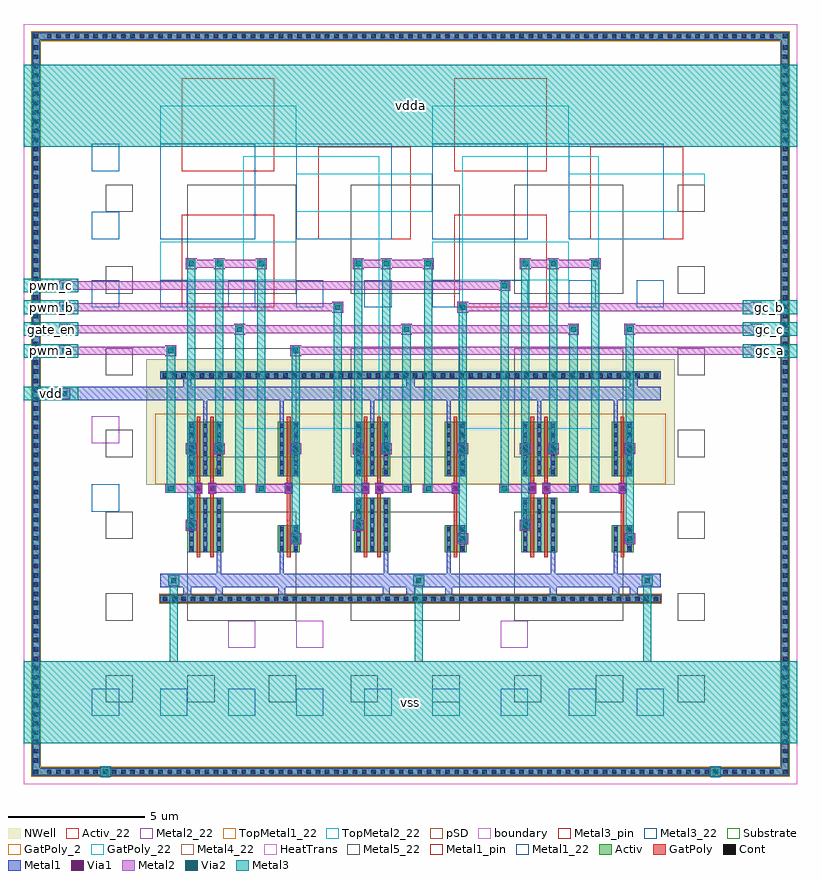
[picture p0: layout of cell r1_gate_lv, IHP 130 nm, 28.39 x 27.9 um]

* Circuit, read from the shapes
.subckt r1_gate_lv gate_en gc_a gc_b gc_c pwm_a pwm_b pwm_c vdd vdda vss
XM1 n1 pwm_a n2 vss sg13_lv_nmos w=2u l=0.13u
XM2 vss gate_en n1 vss sg13_lv_nmos w=2u l=0.13u
XM3 gc_a n2 vss vss sg13_lv_nmos w=1u l=0.13u
XM4 n3 pwm_b n4 vss sg13_lv_nmos w=2u l=0.13u
XM5 vss gate_en n3 vss sg13_lv_nmos w=2u l=0.13u
XM6 gc_b n4 vss vss sg13_lv_nmos w=1u l=0.13u
XM7 n5 pwm_c n6 vss sg13_lv_nmos w=2u l=0.13u
XM8 vss gate_en n5 vss sg13_lv_nmos w=2u l=0.13u
XM9 gc_c n6 vss vss sg13_lv_nmos w=1u l=0.13u
XM10 vdd pwm_a n2 vdd sg13_lv_pmos w=2u l=0.13u
XM11 n2 gate_en vdd vdd sg13_lv_pmos w=2u l=0.13u
XM12 gc_a n2 vdd vdd sg13_lv_pmos w=2u l=0.13u
XM13 vdd pwm_b n4 vdd sg13_lv_pmos w=2u l=0.13u
XM14 n4 gate_en vdd vdd sg13_lv_pmos w=2u l=0.13u
XM15 gc_b n4 vdd vdd sg13_lv_pmos w=2u l=0.13u
XM16 vdd pwm_c n6 vdd sg13_lv_pmos w=2u l=0.13u
XM17 n6 gate_en vdd vdd sg13_lv_pmos w=2u l=0.13u
XM18 gc_c n6 vdd vdd sg13_lv_pmos w=2u l=0.13u
.ends

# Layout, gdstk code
import gdstk
lib = gdstk.Library(unit=1e-6, precision=1e-09)
def R(c, l, rs):  # rectangles x0, y0, x1, y1
    for r in rs: c.add(gdstk.rectangle(r[:2], r[2:], *l))
def A(c, l, x, y, w, h, nx, ny, dx, dy):  # array of equal rectangles
    R(c, l, [(x+i*dx, y+j*dy, x+i*dx+w, y+j*dy+h) for i in range(nx) for j in range(ny)])
def P(c, l, *ps):  # polygons
    for p in ps: c.add(gdstk.Polygon(p, *l))
Activ = (1, 0)
Activ_22 = (1, 22)
GatPoly = (5, 0)
GatPoly_2 = (5, 2)
GatPoly_22 = (5, 22)
Cont = (6, 0)
Metal1 = (8, 0)
Metal1_pin = (8, 2)
Metal1_22 = (8, 22)
Metal2 = (10, 0)
Metal2_22 = (10, 22)
pSD = (14, 0)
Via1 = (19, 0)
Via2 = (29, 0)
Metal3 = (30, 0)
Metal3_pin = (30, 2)
Metal3_22 = (30, 22)
NWell = (31, 0)
Substrate = (40, 0)
Metal4_22 = (50, 22)
HeatTrans = (51, 0)
Metal5_22 = (67, 22)
TopMetal1_22 = (126, 22)
TopMetal2_22 = (134, 22)
boundary = (189, 4)

pmos = lib.new_cell('pmos')
A(pmos, Activ, 0, 0, 0.3, 0.3, 3, 1, 0.51, 0)
R(pmos, Activ, [(0,0,1.32,2)])
R(pmos, GatPoly, [(0.34,-0.18,0.47,2.18), (0.34,-0.18,0.47,2.18), (0.85,-0.18,0.98,2.18)])
A(pmos, Cont, 0.07, 0.07, 0.16, 0.16, 3, 6, 0.51, 0.34)
R(pmos, Metal1, [(0.07,0,0.23,2), (0.07,0,0.23,2), (0.58,0,0.74,2), (0.58,0,0.74,2), (1.09,0,1.25,2)])
R(pmos, pSD, [(-0.18,-0.3,1.5,2.3)])
R(pmos, NWell, [(-0.31,-0.31,1.63,2.31)])
R(pmos, Substrate, [(1.02,0,1.32,0.3)])
R(pmos, HeatTrans, [(0.34,-0.18,0.47,2.18), (0.85,-0.18,0.98,2.18)])
pmos.add(gdstk.Label('pmos', (0.405,1), layer=63, texttype=0))
pmos.add(gdstk.Label('pmos', (0.405,1), layer=51, texttype=0))
pmos.add(gdstk.Label('pmos', (0.915,1), layer=51, texttype=0))

nmos = lib.new_cell('nmos')
A(nmos, Activ, 0, 0, 0.3, 0.3, 3, 1, 0.51, 0)
R(nmos, Activ, [(0,0,1.32,2)])
R(nmos, GatPoly, [(0.34,-0.18,0.47,2.18), (0.85,-0.18,0.98,2.18)])
R(nmos, GatPoly_2, [(0.34,-0.18,0.47,2.18)])
A(nmos, Cont, 0.07, 0.07, 0.16, 0.16, 3, 6, 0.51, 0.34)
A(nmos, Metal1, 0.07, 0, 0.16, 2, 3, 1, 0.51, 0)
R(nmos, Metal1_pin, [(0.07,0,0.23,2), (0.58,0,0.74,2)])
R(nmos, HeatTrans, [(0.34,-0.18,0.47,2.18), (0.85,-0.18,0.98,2.18)])
nmos.add(gdstk.Label('nmos', (0.405,1), layer=63, texttype=0))
nmos.add(gdstk.Label('nmos', (0.405,1), layer=51, texttype=0))
nmos.add(gdstk.Label('nmos', (0.915,1), layer=51, texttype=0))

pmos_1 = lib.new_cell('pmos$1')
R(pmos_1, Activ, [(0,0,0.3,0.3), (0,0,0.81,2), (0.51,0,0.81,0.3)])
R(pmos_1, GatPoly, [(0.34,-0.18,0.47,2.18), (0.34,-0.18,0.47,2.18)])
A(pmos_1, Cont, 0.07, 0.07, 0.16, 0.16, 1, 6, 0, 0.34)
A(pmos_1, Cont, 0.58, 0.07, 0.16, 0.16, 1, 6, 0, 0.34)
R(pmos_1, Metal1, [(0.07,0,0.23,2), (0.07,0,0.23,2), (0.58,0,0.74,2), (0.58,0,0.74,2)])
R(pmos_1, pSD, [(-0.18,-0.3,0.99,2.3)])
R(pmos_1, NWell, [(-0.31,-0.31,1.12,2.31)])
R(pmos_1, Substrate, [(0.51,0,0.81,0.3)])
R(pmos_1, HeatTrans, [(0.34,-0.18,0.47,2.18)])
pmos_1.add(gdstk.Label('pmos', (0.405,1), layer=63, texttype=0))
pmos_1.add(gdstk.Label('pmos', (0.405,1), layer=51, texttype=0))

nmos_1 = lib.new_cell('nmos$1')
R(nmos_1, Activ, [(0,0,0.3,0.3), (0,0,0.81,1), (0.51,0,0.81,0.3)])
R(nmos_1, GatPoly, [(0.34,-0.18,0.47,1.18)])
R(nmos_1, GatPoly_2, [(0.34,-0.18,0.47,1.18)])
A(nmos_1, Cont, 0.07, 0.07, 0.16, 0.16, 1, 3, 0, 0.35)
A(nmos_1, Cont, 0.58, 0.07, 0.16, 0.16, 1, 3, 0, 0.35)
R(nmos_1, Metal1, [(0.07,0,0.23,1), (0.58,0,0.74,1)])
R(nmos_1, Metal1_pin, [(0.07,0,0.23,1), (0.58,0,0.74,1)])
R(nmos_1, HeatTrans, [(0.34,-0.18,0.47,1.18)])
nmos_1.add(gdstk.Label('nmos', (0.405,0.5), layer=63, texttype=0))
nmos_1.add(gdstk.Label('nmos', (0.405,0.5), layer=51, texttype=0))

act_fill_cell = lib.new_cell('Act_FILL_CELL')
R(act_fill_cell, Activ_22, [(0,0,3.4,3.4)])

gatp_fill_cell = lib.new_cell('GatP_FILL_CELL')
R(gatp_fill_cell, GatPoly_22, [(0,0,5,1.4)])

met1_m_fill_cell = lib.new_cell('Met1_M_FILL_CELL')
R(met1_m_fill_cell, Metal1_22, [(0,0,3.5,3.5)])

met1_s_fill_cell = lib.new_cell('Met1_S_FILL_CELL')
R(met1_s_fill_cell, Metal1_22, [(0,0,1,1)])

met2_m_fill_cell = lib.new_cell('Met2_M_FILL_CELL')
R(met2_m_fill_cell, Metal2_22, [(0,0,3.5,3.5)])

met2_s_fill_cell = lib.new_cell('Met2_S_FILL_CELL')
R(met2_s_fill_cell, Metal2_22, [(0,0,1,1)])

met3_s_fill_cell = lib.new_cell('Met3_S_FILL_CELL')
R(met3_s_fill_cell, Metal3_22, [(0,0,1,1)])

met4_m_fill_cell = lib.new_cell('Met4_M_FILL_CELL')
R(met4_m_fill_cell, Metal4_22, [(0,0,4,4)])

met4_s_fill_cell = lib.new_cell('Met4_S_FILL_CELL')
R(met4_s_fill_cell, Metal4_22, [(0,0,1,1)])

met5_m_fill_cell = lib.new_cell('Met5_M_FILL_CELL')
R(met5_m_fill_cell, Metal5_22, [(0,0,4,4)])

met5_s_fill_cell = lib.new_cell('Met5_S_FILL_CELL')
R(met5_s_fill_cell, Metal5_22, [(0,0,1,1)])

tm1_fill_cell = lib.new_cell('TM1_FILL_CELL')
R(tm1_fill_cell, TopMetal1_22, [(0,0,5,10)])

tm2_fill_cell = lib.new_cell('TM2_FILL_CELL')
R(tm2_fill_cell, TopMetal2_22, [(0,0,5,10)])

r1_gate_lv = lib.new_cell('r1_gate_lv')
R(r1_gate_lv, Activ, [(5,6.65,23.39,6.95), (5,14.85,23.39,15.15)])
P(r1_gate_lv, Activ, [(0.3,0.3),(0.3,27.3),(0.6,27.3),(0.6,0.6),(27.79,0.6),(27.79,27.3),(0.3,27.3),(0.3,27.6),(28.09,27.6),(28.09,0.3)])
A(r1_gate_lv, GatPoly, 9.66, 9.5, 0.13, 1.8, 3, 1, 6.13, 0)
A(r1_gate_lv, GatPoly, 6.765, 10.7, 0.3, 0.3, 3, 1, 2.81, 0)
A(r1_gate_lv, GatPoly, 12.895, 10.7, 0.3, 0.3, 3, 1, 2.81, 0)
R(r1_gate_lv, GatPoly, [(6.34,10.5,6.47,11.3), (6.85,10.5,6.98,11.3), (12.47,10.5,12.6,11.3), (12.98,10.5,13.11,11.3), (18.6,10.5,18.73,11.3), (19.11,10.5,19.24,11.3), (6.255,10.7,6.555,11), (19.025,10.7,19.325,11), (21.835,10.7,22.135,11)])
A(r1_gate_lv, Cont, 0.855, 0.37, 0.16, 0.16, 79, 2, 0.34, 27)
A(r1_gate_lv, Cont, 0.37, 0.78, 0.16, 0.16, 1, 78, 0, 0.34)
A(r1_gate_lv, Cont, 27.86, 0.78, 0.16, 0.16, 1, 78, 0, 0.34)
A(r1_gate_lv, Cont, 5.105, 6.72, 0.16, 0.16, 54, 2, 0.34, 8.2)
A(r1_gate_lv, Cont, 6.835, 10.77, 0.16, 0.16, 3, 1, 2.81, 0)
A(r1_gate_lv, Cont, 12.965, 10.77, 0.16, 0.16, 3, 1, 2.81, 0)
R(r1_gate_lv, Cont, [(0.37,0.37,0.53,0.53), (27.86,0.37,28.02,0.53), (6.325,10.77,6.485,10.93), (19.095,10.77,19.255,10.93), (21.905,10.77,22.065,10.93), (0.37,27.37,0.53,27.53), (27.86,27.37,28.02,27.53)])
A(r1_gate_lv, Metal1, 5.85, 6.67, 0.3, 1.05, 3, 1, 8.195, 0)
A(r1_gate_lv, Metal1, 9.78, 8.8, 0.4, 0.4, 3, 1, 6.13, 0)
A(r1_gate_lv, Metal1, 9.81, 8.83, 0.34, 0.34, 3, 1, 6.13, 0)
A(r1_gate_lv, Metal1, 5.95, 9.3, 0.4, 0.4, 3, 1, 6.13, 0)
A(r1_gate_lv, Metal1, 5.98, 9.33, 0.34, 0.34, 3, 1, 6.13, 0)
A(r1_gate_lv, Metal1, 6.765, 10.68, 0.3, 0.34, 3, 1, 2.81, 0)
A(r1_gate_lv, Metal1, 12.895, 10.68, 0.3, 0.34, 3, 1, 2.81, 0)
A(r1_gate_lv, Metal1, 5.85, 14.58, 0.3, 0.55, 3, 1, 8.195, 0)
R(r1_gate_lv, Metal1, [(2.8,0.25,3.2,0.65), (25.19,0.25,25.59,0.65), (2.83,0.28,3.17,0.62), (25.22,0.28,25.56,0.62), (5,6.67,23.39,6.93), (7.04,6.72,7.3,7.22), (7.09,6.72,7.25,8.5), (9.34,6.72,9.6,7.22), (9.39,6.72,9.55,8.5), (13.17,6.72,13.43,7.22), (13.22,6.72,13.38,8.5), (15.47,6.72,15.73,7.22), (15.52,6.72,15.68,8.5), (19.3,6.72,19.56,7.22), (19.35,6.72,19.51,8.5), (21.6,6.72,21.86,7.22), (21.65,6.72,21.81,8.5), (5,7.22,23.39,7.72), (5.3,7.27,5.7,7.67), (14.295,7.27,14.695,7.67), (22.69,7.27,23.09,7.67), (6.255,10.68,6.555,11.02), (19.025,10.68,19.325,11.02), (21.835,10.68,22.135,11.02), (5.95,12.1,6.35,12.5), (6.97,12.1,7.37,12.5), (9.78,12.1,10.18,12.5), (12.08,12.1,12.48,12.5), (13.1,12.1,13.5,12.5), (15.91,12.1,16.31,12.5), (18.21,12.1,18.61,12.5), (19.23,12.1,19.63,12.5), (22.04,12.1,22.44,12.5), (5.98,12.13,6.32,12.47), (7,12.13,7.34,12.47), (9.81,12.13,10.15,12.47), (12.11,12.13,12.45,12.47), (13.13,12.13,13.47,12.47), (15.94,12.13,16.28,12.47), (18.24,12.13,18.58,12.47), (19.26,12.13,19.6,12.47), (22.07,12.13,22.41,12.47), (6.58,13.3,6.74,14.58), (9.39,13.3,9.55,14.58), (12.71,13.3,12.87,14.58), (15.52,13.3,15.68,14.58), (18.84,13.3,19,14.58), (21.65,13.3,21.81,14.58), (1.5,14.08,5,14.58), (5,14.08,23.39,14.58), (6.53,14.08,6.79,14.58), (9.34,14.08,9.6,14.58), (12.66,14.08,12.92,14.58), (15.47,14.08,15.73,14.58), (18.79,14.08,19.05,14.58), (21.6,14.08,21.86,14.58), (1.3,14.13,1.7,14.53), (5,14.87,23.39,15.13)])
P(r1_gate_lv, Metal1, [(0.32,0.32),(0.32,27.32),(0.58,27.32),(0.58,0.58),(27.81,0.58),(27.81,27.32),(0.32,27.32),(0.32,27.58),(28.07,27.58),(28.07,0.32)])
A(r1_gate_lv, Metal2, 9.78, 8.8, 0.4, 0.4, 3, 1, 6.13, 0)
A(r1_gate_lv, Metal2, 5.95, 9.3, 0.4, 0.4, 3, 1, 6.13, 0)
A(r1_gate_lv, Metal2, 6.765, 10.65, 0.3, 0.4, 3, 1, 2.81, 0)
A(r1_gate_lv, Metal2, 12.895, 10.65, 0.3, 0.4, 3, 1, 2.81, 0)
A(r1_gate_lv, Metal2, 1.3, 15.7, 0.4, 0.4, 1, 4, 0, 0.8)
A(r1_gate_lv, Metal2, 26.69, 15.7, 0.4, 0.4, 1, 3, 0, 0.8)
A(r1_gate_lv, Metal2, 7.72, 16.5, 0.4, 0.4, 3, 1, 6.13, 0)
A(r1_gate_lv, Metal2, 6, 18.95, 2.87, 0.3, 3, 1, 6.13, 0)
R(r1_gate_lv, Metal2, [(2.8,0.25,3.2,0.65), (2.8,0.25,3.2,0.65), (25.19,0.25,25.59,0.65), (25.19,0.25,25.59,0.65), (5.3,7.27,5.7,7.67), (5.3,7.27,5.7,7.67), (14.295,7.27,14.695,7.67), (14.295,7.27,14.695,7.67), (22.69,7.27,23.09,7.67), (22.69,7.27,23.09,7.67), (6.255,10.65,6.555,11.05), (19.025,10.65,19.325,11.05), (21.835,10.65,22.135,11.05), (5.2,10.7,6.255,11), (7.065,10.7,8.12,11), (8.52,10.7,9.575,11), (11.33,10.7,12.385,11), (13.195,10.7,14.25,11), (14.65,10.7,15.705,11), (17.46,10.7,18.515,11), (19.325,10.7,20.38,11), (20.78,10.7,21.835,11), (5.95,12.1,6.35,12.5), (6.97,12.1,7.37,12.5), (9.78,12.1,10.18,12.5), (12.08,12.1,12.48,12.5), (13.1,12.1,13.5,12.5), (15.91,12.1,16.31,12.5), (18.21,12.1,18.61,12.5), (19.23,12.1,19.63,12.5), (22.04,12.1,22.44,12.5), (1.3,14.13,1.7,14.53), (1.3,14.13,1.7,14.53), (5.2,15.7,5.6,16.1), (9.78,15.7,10.18,16.1), (1.35,15.75,5.55,16.05), (9.83,15.75,27.04,16.05), (22.04,16.5,22.44,16.9), (1.35,16.55,20.33,16.85), (22.09,16.55,27.04,16.85), (11.33,17.3,11.73,17.7), (15.91,17.3,16.31,17.7), (1.35,17.35,11.68,17.65), (15.96,17.35,27.04,17.65), (17.46,18.1,17.86,18.5), (1.35,18.15,17.81,18.45), (5.95,18.9,6.35,19.3), (6.97,18.9,7.37,19.3), (8.52,18.9,8.92,19.3), (12.08,18.9,12.48,19.3), (13.1,18.9,13.5,19.3), (14.65,18.9,15.05,19.3), (18.21,18.9,18.61,19.3), (19.23,18.9,19.63,19.3), (20.78,18.9,21.18,19.3)])
R(r1_gate_lv, pSD, [(4.97,6.62,23.42,6.98), (4.82,11,23.57,13.6)])
P(r1_gate_lv, pSD, [(0.27,0.27),(0.27,27.27),(0.63,27.27),(0.63,0.63),(27.76,0.63),(27.76,27.27),(0.27,27.27),(0.27,27.63),(28.12,27.63),(28.12,0.27)])
A(r1_gate_lv, Via1, 9.885, 8.905, 0.19, 0.19, 3, 1, 6.13, 0)
A(r1_gate_lv, Via1, 6.055, 9.405, 0.19, 0.19, 3, 1, 6.13, 0)
A(r1_gate_lv, Via1, 6.82, 10.755, 0.19, 0.19, 3, 1, 2.81, 0)
A(r1_gate_lv, Via1, 12.95, 10.755, 0.19, 0.19, 3, 1, 2.81, 0)
R(r1_gate_lv, Via1, [(2.905,0.355,3.095,0.545), (25.295,0.355,25.485,0.545), (5.405,7.375,5.595,7.565), (14.4,7.375,14.59,7.565), (22.795,7.375,22.985,7.565), (6.31,10.755,6.5,10.945), (19.08,10.755,19.27,10.945), (21.89,10.755,22.08,10.945), (6.055,12.205,6.245,12.395), (7.075,12.205,7.265,12.395), (9.885,12.205,10.075,12.395), (12.185,12.205,12.375,12.395), (13.205,12.205,13.395,12.395), (16.015,12.205,16.205,12.395), (18.315,12.205,18.505,12.395), (19.335,12.205,19.525,12.395), (22.145,12.205,22.335,12.395), (1.405,14.235,1.595,14.425)])
A(r1_gate_lv, Via2, 9.885, 8.905, 0.19, 0.19, 3, 1, 6.13, 0)
A(r1_gate_lv, Via2, 6.055, 9.405, 0.19, 0.19, 3, 1, 6.13, 0)
A(r1_gate_lv, Via2, 1.405, 15.805, 0.19, 0.19, 1, 4, 0, 0.8)
A(r1_gate_lv, Via2, 26.795, 15.805, 0.19, 0.19, 1, 3, 0, 0.8)
A(r1_gate_lv, Via2, 7.825, 16.605, 0.19, 0.19, 3, 1, 6.13, 0)
R(r1_gate_lv, Via2, [(2.905,0.355,3.095,0.545), (25.295,0.355,25.485,0.545), (5.405,7.375,5.595,7.565), (14.4,7.375,14.59,7.565), (22.795,7.375,22.985,7.565), (5.305,10.755,5.495,10.945), (7.825,10.755,8.015,10.945), (8.625,10.755,8.815,10.945), (11.435,10.755,11.625,10.945), (13.955,10.755,14.145,10.945), (14.755,10.755,14.945,10.945), (17.565,10.755,17.755,10.945), (20.085,10.755,20.275,10.945), (20.885,10.755,21.075,10.945), (6.055,12.205,6.245,12.395), (7.075,12.205,7.265,12.395), (9.885,12.205,10.075,12.395), (12.185,12.205,12.375,12.395), (13.205,12.205,13.395,12.395), (16.015,12.205,16.205,12.395), (18.315,12.205,18.505,12.395), (19.335,12.205,19.525,12.395), (22.145,12.205,22.335,12.395), (1.405,14.235,1.595,14.425), (5.305,15.805,5.495,15.995), (9.885,15.805,10.075,15.995), (22.145,16.605,22.335,16.795), (11.435,17.405,11.625,17.595), (16.015,17.405,16.205,17.595), (17.565,18.205,17.755,18.395), (6.055,19.005,6.245,19.195), (7.075,19.005,7.265,19.195), (8.625,19.005,8.815,19.195), (12.185,19.005,12.375,19.195), (13.205,19.005,13.395,19.195), (14.755,19.005,14.945,19.195), (18.315,19.005,18.505,19.195), (19.335,19.005,19.525,19.195), (20.885,19.005,21.075,19.195)])
A(r1_gate_lv, Metal3, 6, 9.35, 0.3, 9.9, 3, 1, 6.13, 0)
A(r1_gate_lv, Metal3, 7.77, 10.7, 0.3, 6.15, 3, 1, 6.13, 0)
A(r1_gate_lv, Metal3, 8.57, 10.7, 0.3, 8.55, 3, 1, 6.13, 0)
A(r1_gate_lv, Metal3, 7.02, 12.15, 0.3, 7.1, 3, 1, 6.13, 0)
A(r1_gate_lv, Metal3, 0, 15.65, 2, 0.5, 1, 4, 0, 0.8)
A(r1_gate_lv, Metal3, 26.39, 15.65, 2, 0.5, 1, 3, 0, 0.8)
R(r1_gate_lv, Metal3, [(2.8,0.25,3.2,0.65), (25.19,0.25,25.59,0.65), (0,1.5,28.39,4.5), (5.35,2.85,5.65,7.62), (14.345,2.85,14.645,7.62), (22.74,2.85,23.04,7.62), (5.3,7.27,5.7,7.67), (14.295,7.27,14.695,7.67), (22.69,7.27,23.09,7.67), (9.83,8.85,10.13,16.05), (15.96,8.85,16.26,17.65), (22.09,8.85,22.39,16.85), (5.25,10.7,5.55,16.05), (11.38,10.7,11.68,17.65), (17.51,10.7,17.81,18.45), (0,14.08,2,14.58), (1.3,14.13,1.7,14.53), (0,23.4,28.39,26.4)])
A(r1_gate_lv, Metal3_pin, 0, 15.65, 2, 0.5, 1, 4, 0, 0.8)
A(r1_gate_lv, Metal3_pin, 26.39, 15.65, 2, 0.5, 1, 3, 0, 0.8)
R(r1_gate_lv, Metal3_pin, [(0,1.5,28.39,4.5), (0,14.08,2,14.58), (0,23.4,28.39,26.4)])
R(r1_gate_lv, NWell, [(4.5,10.99,23.89,15.6)])
R(r1_gate_lv, boundary, [(0,0,28.39,27.9)])
r1_gate_lv.add(gdstk.Reference(pmos, (6,11.3)))
r1_gate_lv.add(gdstk.Reference(nmos, (6,8.5)))
r1_gate_lv.add(gdstk.Reference(pmos_1, (9.32,11.3)))
r1_gate_lv.add(gdstk.Reference(nmos_1, (9.32,8.5)))
r1_gate_lv.add(gdstk.Reference(pmos, (12.13,11.3)))
r1_gate_lv.add(gdstk.Reference(nmos, (12.13,8.5)))
r1_gate_lv.add(gdstk.Reference(pmos_1, (15.45,11.3)))
r1_gate_lv.add(gdstk.Reference(nmos_1, (15.45,8.5)))
r1_gate_lv.add(gdstk.Reference(pmos, (18.26,11.3)))
r1_gate_lv.add(gdstk.Reference(nmos, (18.26,8.5)))
r1_gate_lv.add(gdstk.Reference(pmos_1, (21.58,11.3)))
r1_gate_lv.add(gdstk.Reference(nmos_1, (21.58,8.5)))
r = gdstk.Reference(act_fill_cell, (10.8,20)); r.repetition = gdstk.Repetition(2, 1, v1=(10,0), v2=(0,0)); r1_gate_lv.add(r)
r = gdstk.Reference(act_fill_cell, (5.8,17.5)); r.repetition = gdstk.Repetition(2, 2, v1=(10,0), v2=(0,5)); r1_gate_lv.add(r)
r = gdstk.Reference(gatp_fill_cell, (10,21)); r.repetition = gdstk.Repetition(2, 1, v1=(10,0), v2=(0,0)); r1_gate_lv.add(r)
r = gdstk.Reference(gatp_fill_cell, (5,18.5)); r.repetition = gdstk.Repetition(2, 2, v1=(10,0), v2=(0,5)); r1_gate_lv.add(r)
r = gdstk.Reference(met1_m_fill_cell, (5,20)); r.repetition = gdstk.Repetition(4, 1, v1=(5,0), v2=(0,0)); r1_gate_lv.add(r)
r = gdstk.Reference(met1_s_fill_cell, (2.5,2.5)); r.repetition = gdstk.Repetition(9, 1, v1=(2.5,0), v2=(0,0)); r1_gate_lv.add(r)
r1_gate_lv.add(gdstk.Reference(met1_s_fill_cell, (2.5,10)))
r = gdstk.Reference(met1_s_fill_cell, (2.5,17.5)); r.repetition = gdstk.Repetition(1, 3, v1=(0,0), v2=(0,2.5)); r1_gate_lv.add(r)
r = gdstk.Reference(met1_s_fill_cell, (5,17.5)); r.repetition = gdstk.Repetition(8, 1, v1=(2.5,0), v2=(0,0)); r1_gate_lv.add(r)
r = gdstk.Reference(met2_m_fill_cell, (5,20)); r.repetition = gdstk.Repetition(4, 1, v1=(5,0), v2=(0,0)); r1_gate_lv.add(r)
r = gdstk.Reference(met2_s_fill_cell, (2.5,2.5)); r.repetition = gdstk.Repetition(9, 1, v1=(2.5,0), v2=(0,0)); r1_gate_lv.add(r)
r1_gate_lv.add(gdstk.Reference(met2_s_fill_cell, (2.5,12.5)))
r = gdstk.Reference(met2_s_fill_cell, (7.5,5)); r.repetition = gdstk.Repetition(2, 1, v1=(2.5,0), v2=(0,0)); r1_gate_lv.add(r)
r1_gate_lv.add(gdstk.Reference(met2_s_fill_cell, (17.5,5)))
r = gdstk.Reference(met2_s_fill_cell, (2.5,20)); r.repetition = gdstk.Repetition(1, 2, v1=(0,0), v2=(0,2.5)); r1_gate_lv.add(r)
r = gdstk.Reference(met3_s_fill_cell, (24,6)); r.repetition = gdstk.Repetition(1, 3, v1=(0,0), v2=(0,3)); r1_gate_lv.add(r)
r = gdstk.Reference(met4_m_fill_cell, (6,6)); r.repetition = gdstk.Repetition(3, 3, v1=(6,0), v2=(0,6)); r1_gate_lv.add(r)
r = gdstk.Reference(met4_s_fill_cell, (3,3)); r.repetition = gdstk.Repetition(1, 7, v1=(0,0), v2=(0,3)); r1_gate_lv.add(r)
r = gdstk.Reference(met4_s_fill_cell, (6,3)); r.repetition = gdstk.Repetition(7, 1, v1=(3,0), v2=(0,0)); r1_gate_lv.add(r)
r = gdstk.Reference(met4_s_fill_cell, (24,6)); r.repetition = gdstk.Repetition(1, 6, v1=(0,0), v2=(0,3)); r1_gate_lv.add(r)
r = gdstk.Reference(met5_m_fill_cell, (6,6)); r.repetition = gdstk.Repetition(3, 3, v1=(6,0), v2=(0,6)); r1_gate_lv.add(r)
r = gdstk.Reference(met5_s_fill_cell, (3,3)); r.repetition = gdstk.Repetition(1, 7, v1=(0,0), v2=(0,3)); r1_gate_lv.add(r)
r = gdstk.Reference(met5_s_fill_cell, (6,3)); r.repetition = gdstk.Repetition(7, 1, v1=(3,0), v2=(0,0)); r1_gate_lv.add(r)
r = gdstk.Reference(met5_s_fill_cell, (24,6)); r.repetition = gdstk.Repetition(1, 6, v1=(0,0), v2=(0,3)); r1_gate_lv.add(r)
r = gdstk.Reference(tm1_fill_cell, (8.05,13.05)); r.repetition = gdstk.Repetition(2, 1, v1=(8.05,0), v2=(0,0)); r1_gate_lv.add(r)
r = gdstk.Reference(tm2_fill_cell, (8.05,13.05)); r.repetition = gdstk.Repetition(2, 1, v1=(8.05,0), v2=(0,0)); r1_gate_lv.add(r)
r1_gate_lv.add(gdstk.Label('pwm_a', (1,15.9), layer=30, texttype=25))
r1_gate_lv.add(gdstk.Label('pwm_b', (1,17.5), layer=30, texttype=25))
r1_gate_lv.add(gdstk.Label('pwm_c', (1,18.3), layer=30, texttype=25))
r1_gate_lv.add(gdstk.Label('gate_en', (1,16.7), layer=30, texttype=25))
r1_gate_lv.add(gdstk.Label('gc_a', (27.39,15.9), layer=30, texttype=25))
r1_gate_lv.add(gdstk.Label('gc_b', (27.39,17.5), layer=30, texttype=25))
r1_gate_lv.add(gdstk.Label('gc_c', (27.39,16.7), layer=30, texttype=25))
r1_gate_lv.add(gdstk.Label('vss', (14.195,3), layer=30, texttype=25))
r1_gate_lv.add(gdstk.Label('vdda', (14.195,24.9), layer=30, texttype=25))
r1_gate_lv.add(gdstk.Label('vdd', (1,14.33), layer=30, texttype=25))

lib.write_gds('r1_gate_lv.gds')
